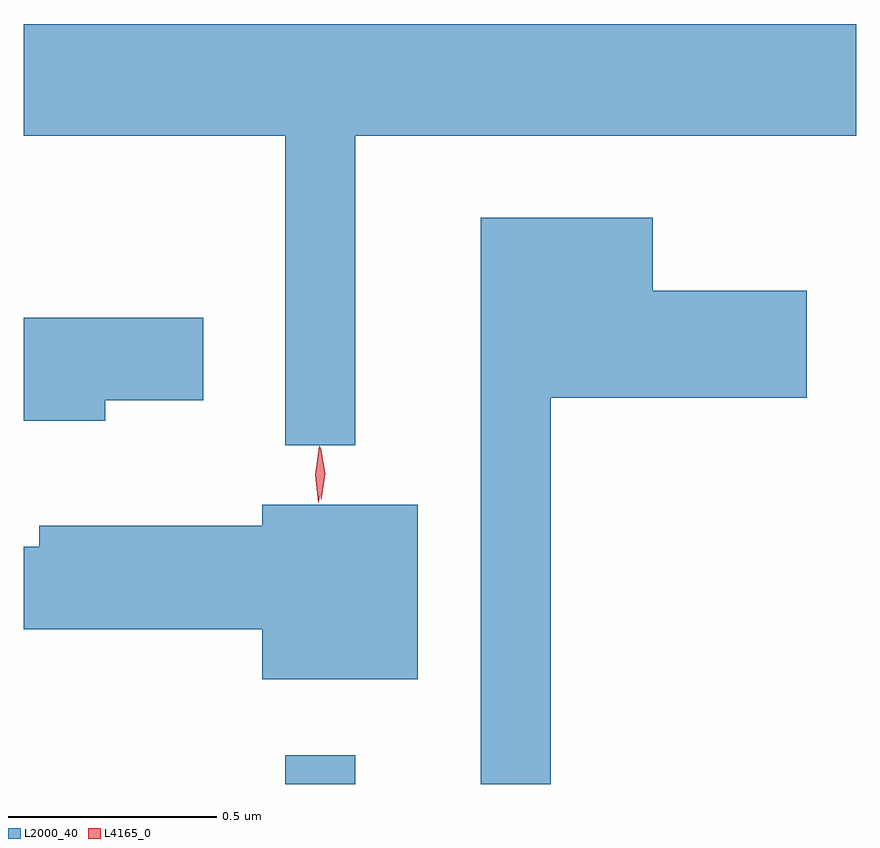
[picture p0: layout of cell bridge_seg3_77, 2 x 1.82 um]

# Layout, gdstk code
import gdstk
lib = gdstk.Library(unit=1e-6, precision=1e-09)
def R(c, l, rs):  # rectangles x0, y0, x1, y1
    for r in rs: c.add(gdstk.rectangle(r[:2], r[2:], *l))
def P(c, l, *ps):  # polygons
    for p in ps: c.add(gdstk.Polygon(p, *l))
L2000_40 = (2000, 40)
L4165_0 = (4165, 0)

bridge_seg3_77 = lib.new_cell('bridge_seg3_77')
R(bridge_seg3_77, L2000_40, [(1147.751,1162.199,1147.919,1162.268)])
P(bridge_seg3_77, L2000_40, [(1147.919,1163.756),(1149.123,1163.756),(1149.123,1164.024),(1147.123,1164.024),(1147.123,1163.756),(1147.751,1163.756),(1147.751,1163.013),(1147.919,1163.013)],
  [(1148.389,1163.126),(1149.004,1163.126),(1149.004,1163.384),(1148.634,1163.384),(1148.634,1163.559),(1148.221,1163.559),(1148.221,1162.199),(1148.389,1162.199)],
  [(1147.319,1163.121),(1147.554,1163.121),(1147.554,1163.319),(1147.123,1163.319),(1147.123,1163.071),(1147.319,1163.071)],
  [(1148.069,1162.869),(1147.696,1162.869),(1147.696,1162.819),(1147.161,1162.819),(1147.161,1162.769),(1147.123,1162.769),(1147.123,1162.571),(1147.696,1162.571),(1147.696,1162.451),(1148.069,1162.451)])
P(bridge_seg3_77, L4165_0, [(1147.832,1162.874),(1147.831,1162.875),(1147.823,1162.942),(1147.833,1163.01),(1147.834,1163.01),(1147.834,1163.01),(1147.843,1162.942),(1147.832,1162.875)],
  [(1147.838,1162.881),(1147.838,1162.881),(1147.827,1162.944),(1147.836,1163.006),(1147.836,1163.007),(1147.837,1163.006),(1147.847,1162.944),(1147.838,1162.881)])

lib.write_gds('bridge_seg3_77.gds')
